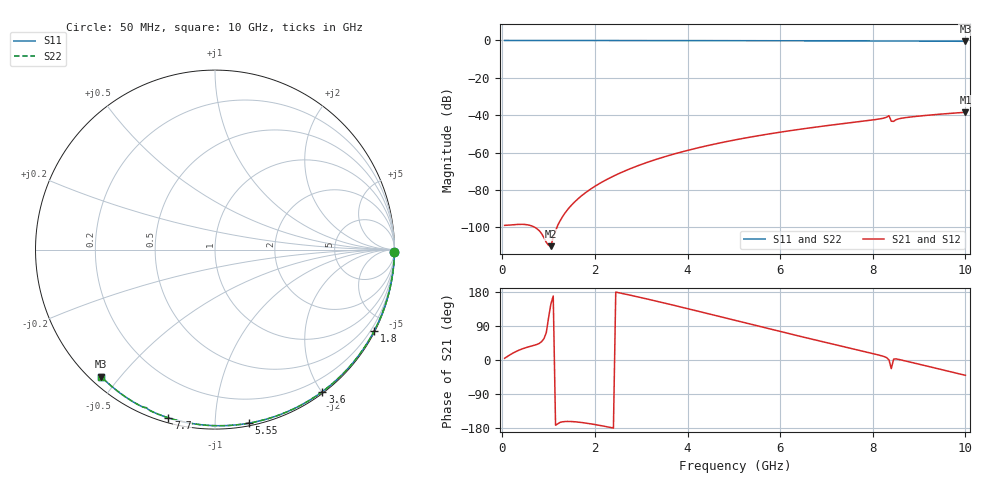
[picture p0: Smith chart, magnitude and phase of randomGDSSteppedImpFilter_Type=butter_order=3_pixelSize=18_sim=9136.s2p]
! freq	dB(S11)	phase(S11)	dB(S12)	phase(S12)
!  dB(S21)	phase(S21)	dB(S22)	phase(S22)
!S-par simulation data
#  GHz  S  DB  R 50
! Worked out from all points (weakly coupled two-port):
!   200 points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, 50 MHz to 10 GHz, reference 50 ohm
!   highest |S21| = -38.42 dB at 10 GHz (marker M1); lowest = -110.0 dB at 1.05 GHz (marker M2)
!   lowest |S11| = -0.4 dB at 10 GHz (marker M3), VSWR 39.09, Z = 1.53 - j22.3 ohm
!   |S11| at or under -10 dB: nowhere
!   |S22| runs from -0.4 to 0.0 dB; largest |S21 - S12| = 0
!   S11 on the Smith chart (normalised r, x): 50 MHz: open; 1.8 GHz: 0.04, -4.16; 3.6 GHz: 0.02, -2.01; 5.55 GHz: 0.02, -1.21; 7.7 GHz: 0.02, -0.76; 10 GHz: 0.03, -0.45
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0.05  -0.00 -0.8  -98.86 4.6  -98.86 4.6  -0.00 -0.8
1.05  -0.02 -15.9  -109.99 148.3  -109.99 148.3  -0.02 -15.9
1.75  -0.03 -26.3  -82.29 -165.6  -82.29 -165.6  -0.03 -26.3
1.8  -0.03 -27.0  -81.34 -166.4  -81.34 -166.4  -0.03 -27.0
1.9  -0.04 -28.5  -79.59 -168.3  -79.59 -168.3  -0.04 -28.5
2.25  -0.04 -33.6  -74.41 -175.9  -74.41 -175.9  -0.04 -33.6
2.65  -0.05 -39.4  -69.72 174.0  -69.72 174.0  -0.05 -39.4
3.4  -0.07 -50.1  -62.98 153.2  -62.98 153.2  -0.07 -50.1
3.6  -0.07 -52.9  -61.48 147.4  -61.48 147.4  -0.07 -52.9
4.3  -0.09 -62.5  -56.97 126.6  -56.97 126.6  -0.09 -62.5
5.05  -0.11 -72.5  -53.05 103.9  -53.05 103.9  -0.11 -72.5
5.55  -0.13 -79.0  -50.83 88.7  -50.83 88.7  -0.13 -79.0
6.7  -0.18 -93.4  -46.55 54.6  -46.55 54.6  -0.18 -93.4
7.7  -0.24 -105.5  -43.42 25.7  -43.42 25.7  -0.24 -105.5
8.2  -0.28 -111.4  -41.72 10.7  -41.72 10.7  -0.28 -111.4
8.3  -0.31 -112.7  -41.01 6.2  -41.01 6.2  -0.31 -112.7
8.35  -0.34 -113.2  -40.21 0.1  -40.21 0.1  -0.34 -113.2
8.4  -0.35 -113.5  -43.18 -22.8  -43.18 -22.8  -0.35 -113.5
8.45  -0.33 -114.0  -43.27 2.3  -43.27 2.3  -0.33 -114.0
8.55  -0.31 -115.2  -41.96 1.9  -41.96 1.9  -0.31 -115.2
8.75  -0.32 -117.6  -41.12 -3.8  -41.12 -3.8  -0.32 -117.6
10  -0.44 -131.9  -38.42 -40.4  -38.42 -40.4  -0.44 -131.9
